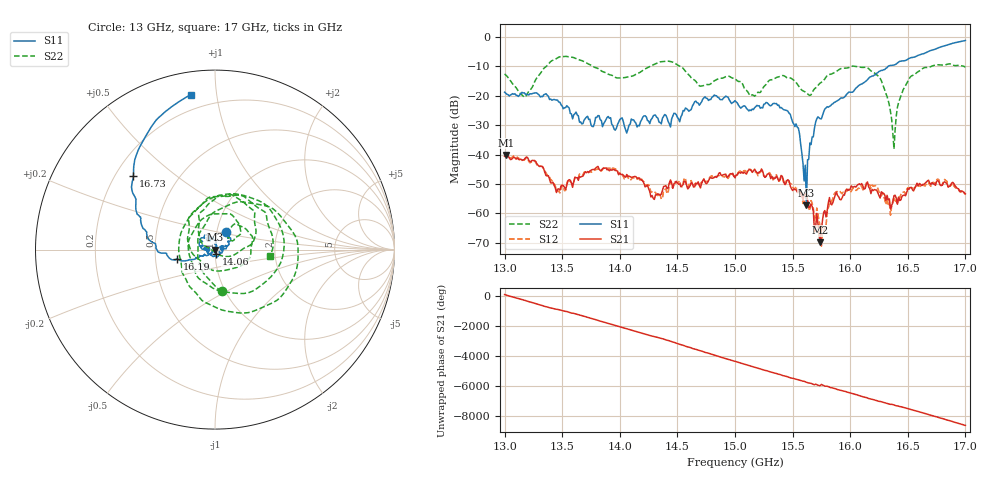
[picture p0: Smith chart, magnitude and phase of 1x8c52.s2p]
!Keysight Technologies,P9374A,MY57211807,A.19.30.04
!Date: Friday, May 08, 2026 15:12:07
!Correction: S11(C  2-Port  )
!S21(C  2-Port  )
!S12(C  2-Port  )
!S22(C  2-Port  )
!S2P File: Measurements: S11, S21, S12, S22:
# Hz S  dB  R 50
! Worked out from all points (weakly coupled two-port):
!   401 points, 13 GHz to 17 GHz, reference 50 ohm
!   highest |S21| = -40.15 dB at 13.01 GHz (marker M1); lowest = -69.9 dB at 15.74 GHz (marker M2)
!   lowest |S11| = -57.3 dB at 15.62 GHz (marker M3), VSWR 1.00, Z = 49.9 - j0.0747 ohm
!   |S11| at or under -10 dB: start of sweep to 16.33 GHz
!   |S22| runs from -38.1 to -6.6 dB; largest |S21 - S12| = 0.00078
!   S11 on the Smith chart (normalised r, x): 13 GHz: 1.11, +0.22; 14.06 GHz: 1.01, -0.05; 16.19 GHz: 0.65, -0.07; 16.73 GHz: 0.27, +0.36; 17 GHz: 0.12, +0.85
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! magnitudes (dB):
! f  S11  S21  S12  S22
! 13 GHz  -18.8  -40.6  -40.4  -12.6
! 13.01 GHz  -19.2  -40.2  -39.7  -12.9
! 13.17 GHz  -19.0  -41.7  -41.9  -20.5
! 13.47 GHz  -22.1  -51.7  -52.6  -6.9
! 13.67 GHz  -29.6  -47.5  -47.0  -8.0
! 14.06 GHz  -32.7  -46.8  -47.1  -13.7
! 14.34 GHz  -28.9  -53.7  -53.2  -8.6
! 14.7 GHz  -22.6  -51.4  -49.9  -16.7
! 15 GHz  -21.7  -47.9  -47.4  -14.2
! 15.15 GHz  -24.5  -46.1  -45.8  -19.7
! 15.46 GHz  -25.3  -48.6  -48.6  -14.0
! 15.55 GHz  -31.0  -52.5  -53.3  -16.6
! 15.62 GHz  -57.3  -53.6  -54.7  -19.0
! 15.67 GHz  -34.0  -57.7  -56.6  -18.9
! 15.74 GHz  -27.8  -69.9  -64.7  -15.7
! 15.88 GHz  -21.9  -52.8  -52.6  -11.7
! 16.19 GHz  -13.3  -51.9  -50.4  -11.8
! 16.34 GHz  -9.8  -55.1  -56.5  -23.3
! 16.38 GHz  -9.6  -54.0  -54.5  -38.1
! 16.51 GHz  -7.3  -51.8  -51.6  -14.3
! 16.73 GHz  -4.3  -50.0  -49.6  -9.6
! 17 GHz  -1.2  -53.4  -53.7  -10.3
